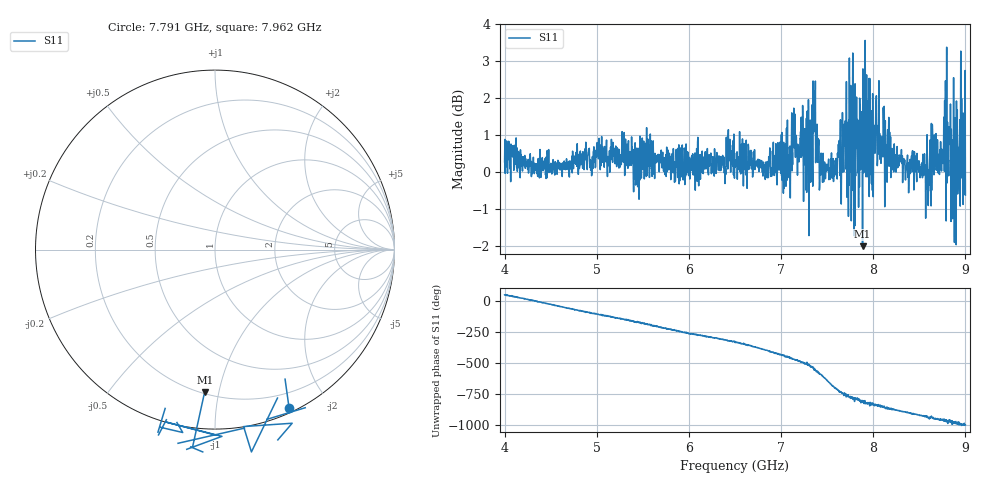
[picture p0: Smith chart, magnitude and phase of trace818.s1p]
! Created with skrf 1.8.0 (http://scikit-rf.org).
# Hz S RI R 50.0
!freq ReS11 ImS11
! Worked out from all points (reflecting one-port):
!   1601 points, 4 GHz to 9 GHz, reference 50 ohm
!   lowest |S11| = -2.0 dB at 7.884 GHz (marker M1), VSWR 8.76, Z = 10.5 - j45.4 ohm
!   phase of S11 starts at 50 deg and turns -1049 deg over the sweep
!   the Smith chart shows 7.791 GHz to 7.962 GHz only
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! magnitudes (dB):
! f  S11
! 4 GHz  0.3
! 4.625 GHz  -0.1
! 5.25 GHz  0.2
! 5.875 GHz  0.1
! 6.5 GHz  0.1
! 7.038 GHz  -0.3
! 7.125 GHz  0.2
! 7.212 GHz  1.1
! 7.266 GHz  0.2
! 7.328 GHz  0.2
! 7.356 GHz  1.8
! 7.441 GHz  0.3
! 7.506 GHz  0.2
! 7.656 GHz  0.2
! 7.688 GHz  1.1
! 7.75 GHz  0.7
! 7.884 GHz  -2.0
! 7.928 GHz  2.6
! 7.981 GHz  -0.3
! 8.047 GHz  0.3
! 8.375 GHz  -0.1
! 8.584 GHz  1.0
! 8.656 GHz  0.7
! 8.728 GHz  0.1
! 8.784 GHz  2.5
! 8.875 GHz  0.0
! 8.972 GHz  1.0
! 9 GHz  -0.6
